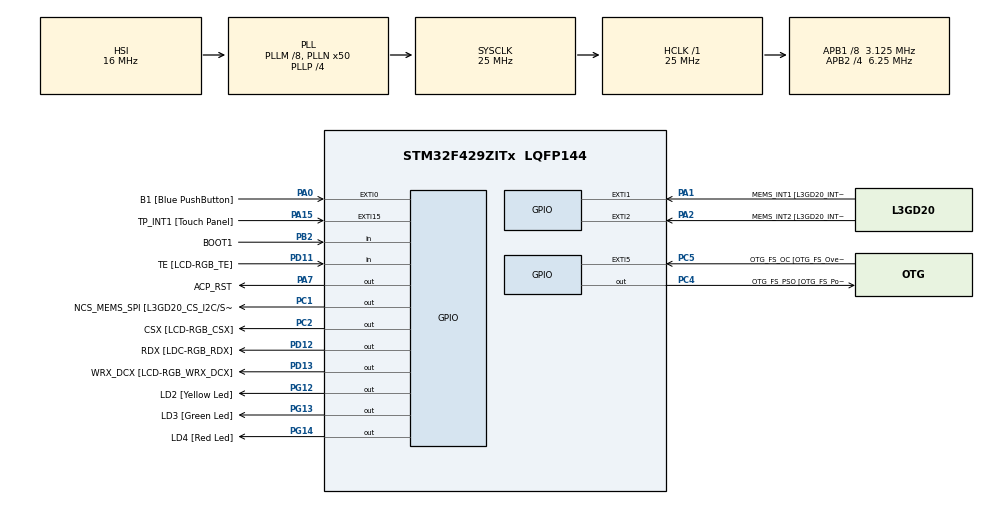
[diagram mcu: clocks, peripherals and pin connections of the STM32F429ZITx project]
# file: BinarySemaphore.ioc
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Mcu.Family=STM32F4
Mcu.Name=STM32F429ZITx
Mcu.Package=LQFP144
NVIC.PriorityGroup=NVIC_PRIORITYGROUP_0
NVIC.TIM6_DAC_IRQn=true\:0\:0\:false\:false\:true\:false\:true\:true
NVIC.TimeBase=TIM6_DAC_IRQn
NVIC.TimeBaseIP=TIM6
PA0/WKUP.GPIO_Label=B1 [Blue PushButton]
PA0/WKUP.GPIO_ModeDefaultEXTI=GPIO_MODE_EVT_RISING
PA0/WKUP.GPIO_PuPd=GPIO_NOPULL
PA0/WKUP.Signal=GPXTI0
PA1.GPIO_Label=MEMS_INT1 [L3GD20_INT1]
PA1.GPIO_ModeDefaultEXTI=GPIO_MODE_EVT_RISING
PA1.GPIO_PuPd=GPIO_NOPULL
PA1.Signal=GPXTI1
PA10.GPIO_Label=STLINK_TX [STM32F103CBT6_PA2]
PA10.Signal=USART1_RX
PA11.GPIO_Label=R4
PA11.GPIO_Mode=GPIO_MODE_AF_PP
PA11.GPIO_PuPd=GPIO_NOPULL
PA11.GPIO_Speed=GPIO_SPEED_FREQ_LOW
PA11.Signal=LTDC_R4
PA12.GPIO_Label=R5
PA12.GPIO_Mode=GPIO_MODE_AF_PP
PA12.GPIO_PuPd=GPIO_NOPULL
PA12.GPIO_Speed=GPIO_SPEED_FREQ_LOW
PA12.Signal=LTDC_R5
PA13.GPIO_Label=SWDIO
PA13.Signal=SYS_JTMS-SWDIO
PA14.GPIO_Label=SWCLK
PA14.Signal=SYS_JTCK-SWCLK
PA15.GPIO_Label=TP_INT1 [Touch Panel]
PA15.GPIO_ModeDefaultEXTI=GPIO_MODE_EVT_RISING
PA15.GPIO_PuPd=GPIO_NOPULL
PA15.Signal=GPXTI15
PA2.GPIO_Label=MEMS_INT2 [L3GD20_INT2]
PA2.GPIO_ModeDefaultEXTI=GPIO_MODE_EVT_RISING
PA2.GPIO_PuPd=GPIO_NOPULL
PA2.Signal=GPXTI2
PA3.GPIO_Label=B5
PA3.GPIO_Mode=GPIO_MODE_AF_PP
PA3.GPIO_PuPd=GPIO_NOPULL
PA3.GPIO_Speed=GPIO_SPEED_FREQ_LOW
PA3.Signal=LTDC_B5
PA4.GPIO_Label=VSYNC
PA4.GPIO_Mode=GPIO_MODE_AF_PP
PA4.GPIO_PuPd=GPIO_NOPULL
PA4.GPIO_Speed=GPIO_SPEED_FREQ_LOW
PA4.Signal=LTDC_VSYNC
PA6.GPIO_Label=G2
PA6.GPIO_Mode=GPIO_MODE_AF_PP
PA6.GPIO_PuPd=GPIO_NOPULL
PA6.GPIO_Speed=GPIO_SPEED_FREQ_LOW
PA6.Signal=LTDC_G2
PA7.GPIO_Label=ACP_RST
PA7.GPIO_Mode=GPIO_MODE_OUTPUT_PP
PA7.GPIO_PuPd=GPIO_NOPULL
PA7.GPIO_Speed=GPIO_SPEED_FREQ_LOW
PA7.Signal=GPIO_Output
PA8.GPIO_Label=I2C3_SCL [ACP/RF_SCL]
PA8.GPIO_Mode=GPIO_MODE_AF_OD
PA8.GPIO_PuPd=GPIO_NOPULL
PA8.GPIO_Speed=GPIO_SPEED_FREQ_LOW
PA8.Signal=I2C3_SCL
PA9.GPIO_Label=STLINK_RX [STM32F103CBT6_PA3]
PA9.Signal=USART1_TX
PB0.GPIO_Label=R3
PB0.GPIO_Mode=GPIO_MODE_AF_PP
PB0.GPIO_PuPd=GPIO_NOPULL
PB0.GPIO_Speed=GPIO_SPEED_FREQ_LOW
PB0.Signal=LTDC_R3
PB1.GPIO_Label=R6
PB1.GPIO_Mode=GPIO_MODE_AF_PP
PB1.GPIO_PuPd=GPIO_NOPULL
PB1.GPIO_Speed=GPIO_SPEED_FREQ_LOW
PB1.Signal=LTDC_R6
PB10.GPIO_Label=G4
PB10.GPIO_Mode=GPIO_MODE_AF_PP
PB10.GPIO_PuPd=GPIO_NOPULL
PB10.GPIO_Speed=GPIO_SPEED_FREQ_LOW
PB10.Signal=LTDC_G4
PB11.GPIO_Label=G5
PB11.GPIO_Mode=GPIO_MODE_AF_PP
PB11.GPIO_PuPd=GPIO_NOPULL
PB11.GPIO_Speed=GPIO_SPEED_FREQ_LOW
PB11.Signal=LTDC_G5
PB12.GPIO_Label=OTG_HS_ID
PB12.GPIO_Mode=GPIO_MODE_AF_PP
PB12.GPIO_PuPd=GPIO_NOPULL
PB12.GPIO_Speed=GPIO_SPEED_FREQ_LOW
PB12.Signal=USB_OTG_HS_ID
PB13.GPIO_Label=VBUS_HS
PB13.GPIO_Mode=GPIO_MODE_INPUT
PB13.GPIO_PuPd=GPIO_NOPULL
PB13.Signal=USB_OTG_HS_VBUS
PB14.GPIO_Label=OTG_HS_DM
PB14.GPIO_Mode=GPIO_MODE_AF_PP
PB14.GPIO_PuPd=GPIO_NOPULL
PB14.GPIO_Speed=GPIO_SPEED_FREQ_LOW
PB14.Signal=USB_OTG_HS_DM
PB15.GPIO_Label=OTG_HS_DP
PB15.GPIO_Mode=GPIO_MODE_AF_PP
PB15.GPIO_PuPd=GPIO_NOPULL
PB15.GPIO_Speed=GPIO_SPEED_FREQ_LOW
PB15.Signal=USB_OTG_HS_DP
PB2/BOOT1.GPIO_Label=BOOT1
PB2/BOOT1.GPIO_Mode=GPIO_MODE_INPUT
PB2/BOOT1.GPIO_PuPd=GPIO_NOPULL
PB2/BOOT1.Signal=GPIO_Input
PB5.GPIO_Label=SDCKE1
PB5.GPIO_Mode=GPIO_MODE_AF_PP
PB5.GPIO_PuPd=GPIO_NOPULL
PB5.GPIO_Speed=GPIO_SPEED_FREQ_VERY_HIGH
PB5.Signal=FMC_SDCKE1
PB6.GPIO_Label=SDNE1 [SDRAM_CS]
PB6.GPIO_Mode=GPIO_MODE_AF_PP
PB6.GPIO_PuPd=GPIO_NOPULL
PB6.GPIO_Speed=GPIO_SPEED_FREQ_VERY_HIGH
PB6.Signal=FMC_SDNE1
PB8.GPIO_Label=B6
PB8.GPIO_Mode=GPIO_MODE_AF_PP
PB8.GPIO_PuPd=GPIO_NOPULL
PB8.GPIO_Speed=GPIO_SPEED_FREQ_LOW
PB8.Signal=LTDC_B6
PB9.GPIO_Label=B7
PB9.GPIO_Mode=GPIO_MODE_AF_PP
PB9.GPIO_PuPd=GPIO_NOPULL
PB9.GPIO_Speed=GPIO_SPEED_FREQ_LOW
PB9.Signal=LTDC_B7
PC0.GPIO_Label=SDNWE
PC0.GPIO_Mode=GPIO_MODE_AF_PP
PC0.GPIO_PuPd=GPIO_NOPULL
PC0.GPIO_Speed=GPIO_SPEED_FREQ_VERY_HIGH
PC0.Signal=FMC_SDNWE
PC1.GPIO_Label=NCS_MEMS_SPI [L3GD20_CS_I2C/SPI]
PC1.GPIO_Mode=GPIO_MODE_OUTPUT_PP
PC1.GPIO_PuPd=GPIO_NOPULL
PC1.GPIO_Speed=GPIO_SPEED_FREQ_LOW
PC1.Signal=GPIO_Output
PC10.GPIO_Label=R2
PC10.GPIO_Mode=GPIO_MODE_AF_PP
PC10.GPIO_PuPd=GPIO_NOPULL
PC10.GPIO_Speed=GPIO_SPEED_FREQ_LOW
PC10.Signal=LTDC_R2
PC14/OSC32_IN.GPIO_Label=PC14-OSC32_IN
PC14/OSC32_IN.Signal=RCC_OSC32_IN
PC15/OSC32_OUT.GPIO_Label=PC15-OSC32_OUT
PC15/OSC32_OUT.Signal=RCC_OSC32_OUT
PC2.GPIO_Label=CSX [LCD-RGB_CSX]
PC2.GPIO_Mode=GPIO_MODE_OUTPUT_PP
PC2.GPIO_PuPd=GPIO_NOPULL
PC2.GPIO_Speed=GPIO_SPEED_FREQ_LOW
PC2.Signal=GPIO_Output
PC4.GPIO_Label=OTG_FS_PSO [OTG_FS_PowerSwitchOn]
PC4.GPIO_Mode=GPIO_MODE_OUTPUT_PP
PC4.GPIO_PuPd=GPIO_NOPULL
PC4.GPIO_Speed=GPIO_SPEED_FREQ_LOW
PC4.Signal=GPIO_Output
PC5.GPIO_Label=OTG_FS_OC [OTG_FS_OverCurrent]
PC5.GPIO_ModeDefaultEXTI=GPIO_MODE_EVT_RISING
PC5.Signal=GPXTI5
PC6.GPIO_Label=HSYNC
PC6.GPIO_Mode=GPIO_MODE_AF_PP
PC6.GPIO_PuPd=GPIO_NOPULL
PC6.GPIO_Speed=GPIO_SPEED_FREQ_LOW
PC6.Signal=LTDC_HSYNC
PC7.GPIO_Label=G6
PC7.GPIO_Mode=GPIO_MODE_AF_PP
PC7.GPIO_PuPd=GPIO_NOPULL
PC7.GPIO_Speed=GPIO_SPEED_FREQ_LOW
PC7.Signal=LTDC_G6
PC9.GPIO_Label=I2C3_SDA [ACP/RF_SDA]
PC9.GPIO_Mode=GPIO_MODE_AF_OD
PC9.GPIO_PuPd=GPIO_NOPULL
PC9.GPIO_Speed=GPIO_SPEED_FREQ_LOW
PC9.Signal=I2C3_SDA
PD0.GPIO_Label=D2
PD0.GPIO_Mode=GPIO_MODE_AF_PP
PD0.GPIO_PuPd=GPIO_NOPULL
PD0.GPIO_Speed=GPIO_SPEED_FREQ_VERY_HIGH
PD0.Signal=FMC_D2_DA2
PD1.GPIO_Label=D3
PD1.GPIO_Mode=GPIO_MODE_AF_PP
PD1.GPIO_PuPd=GPIO_NOPULL
PD1.GPIO_Speed=GPIO_SPEED_FREQ_VERY_HIGH
PD1.Signal=FMC_D3_DA3
PD10.GPIO_Label=D15
PD10.GPIO_Mode=GPIO_MODE_AF_PP
PD10.GPIO_PuPd=GPIO_NOPULL
PD10.GPIO_Speed=GPIO_SPEED_FREQ_VERY_HIGH
PD10.Signal=FMC_D15_DA15
PD11.GPIO_Label=TE [LCD-RGB_TE]
PD11.GPIO_Mode=GPIO_MODE_INPUT
PD11.GPIO_PuPd=GPIO_NOPULL
PD11.Signal=GPIO_Input
PD12.GPIO_Label=RDX [LDC-RGB_RDX]
PD12.GPIO_Mode=GPIO_MODE_OUTPUT_PP
PD12.GPIO_PuPd=GPIO_NOPULL
PD12.GPIO_Speed=GPIO_SPEED_FREQ_LOW
PD12.Signal=GPIO_Output
PD13.GPIO_Label=WRX_DCX [LCD-RGB_WRX_DCX]
PD13.GPIO_Mode=GPIO_MODE_OUTPUT_PP
PD13.GPIO_PuPd=GPIO_NOPULL
PD13.GPIO_Speed=GPIO_SPEED_FREQ_LOW
PD13.Signal=GPIO_Output
PD14.GPIO_Label=D0
PD14.GPIO_Mode=GPIO_MODE_AF_PP
PD14.GPIO_PuPd=GPIO_NOPULL
PD14.GPIO_Speed=GPIO_SPEED_FREQ_VERY_HIGH
PD14.Signal=FMC_D0_DA0
PD15.GPIO_Label=D1
PD15.GPIO_Mode=GPIO_MODE_AF_PP
PD15.GPIO_PuPd=GPIO_NOPULL
PD15.GPIO_Speed=GPIO_SPEED_FREQ_VERY_HIGH
PD15.Signal=FMC_D1_DA1
PD3.GPIO_Label=G7
PD3.GPIO_Mode=GPIO_MODE_AF_PP
PD3.GPIO_PuPd=GPIO_NOPULL
PD3.GPIO_Speed=GPIO_SPEED_FREQ_LOW
PD3.Signal=LTDC_G7
PD6.GPIO_Label=B2
PD6.GPIO_Mode=GPIO_MODE_AF_PP
PD6.GPIO_PuPd=GPIO_NOPULL
PD6.GPIO_Speed=GPIO_SPEED_FREQ_LOW
PD6.Signal=LTDC_B2
PD8.GPIO_Label=D13
PD8.GPIO_Mode=GPIO_MODE_AF_PP
PD8.GPIO_PuPd=GPIO_NOPULL
PD8.GPIO_Speed=GPIO_SPEED_FREQ_VERY_HIGH
PD8.Signal=FMC_D13_DA13
PD9.GPIO_Label=D14
PD9.GPIO_Mode=GPIO_MODE_AF_PP
PD9.GPIO_PuPd=GPIO_NOPULL
PD9.GPIO_Speed=GPIO_SPEED_FREQ_VERY_HIGH
PD9.Signal=FMC_D14_DA14
PE0.GPIO_Label=NBL0 [SDRAM_LDQM]
PE0.GPIO_Mode=GPIO_MODE_AF_PP
PE0.GPIO_PuPd=GPIO_NOPULL
PE0.GPIO_Speed=GPIO_SPEED_FREQ_VERY_HIGH
PE0.Signal=FMC_NBL0
PE1.GPIO_Label=NBL1 [SDRAM_UDQM]
PE1.GPIO_Mode=GPIO_MODE_AF_PP
PE1.GPIO_PuPd=GPIO_NOPULL
PE1.GPIO_Speed=GPIO_SPEED_FREQ_VERY_HIGH
PE1.Signal=FMC_NBL1
PE10.GPIO_Label=D7
PE10.GPIO_Mode=GPIO_MODE_AF_PP
PE10.GPIO_PuPd=GPIO_NOPULL
PE10.GPIO_Speed=GPIO_SPEED_FREQ_VERY_HIGH
PE10.Signal=FMC_D7_DA7
PE11.GPIO_Label=D8
PE11.GPIO_Mode=GPIO_MODE_AF_PP
PE11.GPIO_PuPd=GPIO_NOPULL
PE11.GPIO_Speed=GPIO_SPEED_FREQ_VERY_HIGH
PE11.Signal=FMC_D8_DA8
PE12.GPIO_Label=D9
PE12.GPIO_Mode=GPIO_MODE_AF_PP
PE12.GPIO_PuPd=GPIO_NOPULL
PE12.GPIO_Speed=GPIO_SPEED_FREQ_VERY_HIGH
PE12.Signal=FMC_D9_DA9
PE13.GPIO_Label=D10
PE13.GPIO_Mode=GPIO_MODE_AF_PP
PE13.GPIO_PuPd=GPIO_NOPULL
PE13.GPIO_Speed=GPIO_SPEED_FREQ_VERY_HIGH
PE13.Signal=FMC_D10_DA10
PE14.GPIO_Label=D11
PE14.GPIO_Mode=GPIO_MODE_AF_PP
PE14.GPIO_PuPd=GPIO_NOPULL
PE14.GPIO_Speed=GPIO_SPEED_FREQ_VERY_HIGH
PE14.Signal=FMC_D11_DA11
PE15.GPIO_Label=D12
PE15.GPIO_Mode=GPIO_MODE_AF_PP
PE15.GPIO_PuPd=GPIO_NOPULL
PE15.GPIO_Speed=GPIO_SPEED_FREQ_VERY_HIGH
PE15.Signal=FMC_D12_DA12
PE7.GPIO_Label=D4
PE7.GPIO_Mode=GPIO_MODE_AF_PP
PE7.GPIO_PuPd=GPIO_NOPULL
PE7.GPIO_Speed=GPIO_SPEED_FREQ_VERY_HIGH
PE7.Signal=FMC_D4_DA4
PE8.GPIO_Label=D5
PE8.GPIO_Mode=GPIO_MODE_AF_PP
PE8.GPIO_PuPd=GPIO_NOPULL
PE8.GPIO_Speed=GPIO_SPEED_FREQ_VERY_HIGH
PE8.Signal=FMC_D5_DA5
PE9.GPIO_Label=D6
PE9.GPIO_Mode=GPIO_MODE_AF_PP
PE9.GPIO_PuPd=GPIO_NOPULL
PE9.GPIO_Speed=GPIO_SPEED_FREQ_VERY_HIGH
PE9.Signal=FMC_D6_DA6
PF0.GPIO_Label=A0
PF0.GPIO_Mode=GPIO_MODE_AF_PP
PF0.GPIO_PuPd=GPIO_NOPULL
PF0.GPIO_Speed=GPIO_SPEED_FREQ_VERY_HIGH
PF0.Signal=FMC_A0
PF1.GPIO_Label=A1
PF1.GPIO_Mode=GPIO_MODE_AF_PP
PF1.GPIO_PuPd=GPIO_NOPULL
PF1.GPIO_Speed=GPIO_SPEED_FREQ_VERY_HIGH
PF1.Signal=FMC_A1
PF10.GPIO_Label=ENABLE [LCD-RGB_ENABLE]
PF10.GPIO_Mode=GPIO_MODE_AF_PP
PF10.GPIO_PuPd=GPIO_NOPULL
PF10.GPIO_Speed=GPIO_SPEED_FREQ_LOW
PF10.Signal=LTDC_DE
PF11.GPIO_Label=SDNRAS
PF11.GPIO_Mode=GPIO_MODE_AF_PP
PF11.GPIO_PuPd=GPIO_NOPULL
PF11.GPIO_Speed=GPIO_SPEED_FREQ_VERY_HIGH
PF11.Signal=FMC_SDNRAS
PF12.GPIO_Label=A6
PF12.GPIO_Mode=GPIO_MODE_AF_PP
PF12.GPIO_PuPd=GPIO_NOPULL
PF12.GPIO_Speed=GPIO_SPEED_FREQ_VERY_HIGH
PF12.Signal=FMC_A6
PF13.GPIO_Label=A7
PF13.GPIO_Mode=GPIO_MODE_AF_PP
PF13.GPIO_PuPd=GPIO_NOPULL
PF13.GPIO_Speed=GPIO_SPEED_FREQ_VERY_HIGH
PF13.Signal=FMC_A7
PF14.GPIO_Label=A8
PF14.GPIO_Mode=GPIO_MODE_AF_PP
PF14.GPIO_PuPd=GPIO_NOPULL
PF14.GPIO_Speed=GPIO_SPEED_FREQ_VERY_HIGH
PF14.Signal=FMC_A8
PF15.GPIO_Label=A9
PF15.GPIO_Mode=GPIO_MODE_AF_PP
PF15.GPIO_PuPd=GPIO_NOPULL
PF15.GPIO_Speed=GPIO_SPEED_FREQ_VERY_HIGH
PF15.Signal=FMC_A9
PF2.GPIO_Label=A2
PF2.GPIO_Mode=GPIO_MODE_AF_PP
PF2.GPIO_PuPd=GPIO_NOPULL
PF2.GPIO_Speed=GPIO_SPEED_FREQ_VERY_HIGH
PF2.Signal=FMC_A2
PF3.GPIO_Label=A3
PF3.GPIO_Mode=GPIO_MODE_AF_PP
PF3.GPIO_PuPd=GPIO_NOPULL
PF3.GPIO_Speed=GPIO_SPEED_FREQ_VERY_HIGH
PF3.Signal=FMC_A3
PF4.GPIO_Label=A4
PF4.GPIO_Mode=GPIO_MODE_AF_PP
PF4.GPIO_PuPd=GPIO_NOPULL
PF4.GPIO_Speed=GPIO_SPEED_FREQ_VERY_HIGH
PF4.Signal=FMC_A4
PF5.GPIO_Label=A5
PF5.GPIO_Mode=GPIO_MODE_AF_PP
PF5.GPIO_PuPd=GPIO_NOPULL
PF5.GPIO_Speed=GPIO_SPEED_FREQ_VERY_HIGH
PF5.Signal=FMC_A5
PF7.GPIO_Label=SPI5_SCK [L3GD20_SCL/SPC]
PF7.GPIO_Mode=GPIO_MODE_AF_PP
PF7.GPIO_PuPd=GPIO_NOPULL
PF7.GPIO_Speed=GPIO_SPEED_FREQ_LOW
PF7.Signal=SPI5_SCK
PF8.GPIO_Label=SPI5_MISO [L3GD20_SDO]
PF8.GPIO_Mode=GPIO_MODE_AF_PP
PF8.GPIO_PuPd=GPIO_NOPULL
PF8.GPIO_Speed=GPIO_SPEED_FREQ_LOW
PF8.Signal=SPI5_MISO
PF9.GPIO_Label=SPI5_MOSI [L3GD20_SDA/SDI/SDO]
PF9.GPIO_Mode=GPIO_MODE_AF_PP
PF9.GPIO_PuPd=GPIO_NOPULL
PF9.GPIO_Speed=GPIO_SPEED_FREQ_LOW
PF9.Signal=SPI5_MOSI
PG0.GPIO_Label=A10
PG0.GPIO_Mode=GPIO_MODE_AF_PP
PG0.GPIO_PuPd=GPIO_NOPULL
PG0.GPIO_Speed=GPIO_SPEED_FREQ_VERY_HIGH
PG0.Signal=FMC_A10
PG1.GPIO_Label=A11
PG1.GPIO_Mode=GPIO_MODE_AF_PP
PG1.GPIO_PuPd=GPIO_NOPULL
PG1.GPIO_Speed=GPIO_SPEED_FREQ_VERY_HIGH
PG1.Signal=FMC_A11
PG10.GPIO_Label=G3
PG10.GPIO_Mode=GPIO_MODE_AF_PP
PG10.GPIO_PuPd=GPIO_NOPULL
PG10.GPIO_Speed=GPIO_SPEED_FREQ_LOW
PG10.Signal=LTDC_G3
PG11.GPIO_Label=B3
PG11.GPIO_Mode=GPIO_MODE_AF_PP
PG11.GPIO_PuPd=GPIO_NOPULL
PG11.GPIO_Speed=GPIO_SPEED_FREQ_LOW
PG11.Signal=LTDC_B3
PG12.GPIO_Label=LD2 [Yellow Led]
PG12.Signal=GPIO_Output
PG13.GPIO_Label=LD3 [Green Led]
PG13.GPIO_Mode=GPIO_MODE_OUTPUT_PP
PG13.GPIO_PuPd=GPIO_NOPULL
PG13.GPIO_Speed=GPIO_SPEED_FREQ_LOW
PG13.Signal=GPIO_Output
PG14.GPIO_Label=LD4 [Red Led]
PG14.GPIO_Mode=GPIO_MODE_OUTPUT_PP
PG14.GPIO_PuPd=GPIO_NOPULL
PG14.GPIO_Speed=GPIO_SPEED_FREQ_LOW
PG14.Signal=GPIO_Output
PG15.GPIO_Label=SDNCAS
PG15.GPIO_Mode=GPIO_MODE_AF_PP
PG15.GPIO_PuPd=GPIO_NOPULL
PG15.GPIO_Speed=GPIO_SPEED_FREQ_VERY_HIGH
PG15.Signal=FMC_SDNCAS
PG4.GPIO_Label=BA0
PG4.GPIO_Mode=GPIO_MODE_AF_PP
PG4.GPIO_PuPd=GPIO_NOPULL
PG4.GPIO_Speed=GPIO_SPEED_FREQ_VERY_HIGH
PG4.Signal=FMC_A14_BA0
PG5.GPIO_Label=BA1
PG5.GPIO_Mode=GPIO_MODE_AF_PP
PG5.GPIO_PuPd=GPIO_NOPULL
PG5.GPIO_Speed=GPIO_SPEED_FREQ_VERY_HIGH
PG5.Signal=FMC_A15_BA1
PG6.GPIO_Label=R7
PG6.GPIO_Mode=GPIO_MODE_AF_PP
PG6.GPIO_PuPd=GPIO_NOPULL
PG6.GPIO_Speed=GPIO_SPEED_FREQ_LOW
PG6.Signal=LTDC_R7
PG7.GPIO_Label=DOTCLK [LCT-RGB_DOTCLK]
PG7.GPIO_Mode=GPIO_MODE_AF_PP
PG7.GPIO_PuPd=GPIO_NOPULL
PG7.GPIO_Speed=GPIO_SPEED_FREQ_LOW
PG7.Signal=LTDC_CLK
PG8.GPIO_Label=SDCLK
PG8.GPIO_Mode=GPIO_MODE_AF_PP
PG8.GPIO_PuPd=GPIO_NOPULL
PG8.GPIO_Speed=GPIO_SPEED_FREQ_VERY_HIGH
PG8.Signal=FMC_SDCLK
PH0/OSC_IN.GPIO_Label=PH0-OSC_IN
PH0/OSC_IN.Signal=RCC_OSC_IN
PH1/OSC_OUT.GPIO_Label=PH1-OSC_OUT
PH1/OSC_OUT.Signal=RCC_OSC_OUT
ProjectManager.HeapSize=0x200
ProjectManager.StackSize=0x400
ProjectManager.TargetToolchain=STM32CubeIDE
RCC.48MHZClocksFreq_Value=14285714.285714285
RCC.AHBFreq_Value=25000000
RCC.APB1CLKDivider=RCC_HCLK_DIV8
RCC.APB1Freq_Value=3125000
RCC.APB1TimFreq_Value=6250000
RCC.APB2CLKDivider=RCC_HCLK_DIV4
RCC.APB2Freq_Value=6250000
RCC.APB2TimFreq_Value=12500000
RCC.CortexFreq_Value=25000000
RCC.HCLKFreq_Value=25000000
RCC.HSE_VALUE=8000000
RCC.HSI_VALUE=16000000
RCC.LSE_VALUE=32768
RCC.PLLM=8
RCC.PLLN=50
RCC.PLLP=RCC_PLLP_DIV4
RCC.PLLQ=7
RCC.SYSCLKFreq_VALUE=25000000
RCC.SYSCLKSource=RCC_SYSCLKSOURCE_PLLCLK
RCC.VCOOutputFreq_Value=100000000
SH.FMC_A0.0=FMC_A0
SH.FMC_A1.0=FMC_A1
SH.FMC_A10.0=FMC_A10
SH.FMC_A11.0=FMC_A11
SH.FMC_A14_BA0.0=FMC_BA0
SH.FMC_A15_BA1.0=FMC_BA1
SH.FMC_A2.0=FMC_A2
SH.FMC_A3.0=FMC_A3
SH.FMC_A4.0=FMC_A4
SH.FMC_A5.0=FMC_A5
SH.FMC_A6.0=FMC_A6
SH.FMC_A7.0=FMC_A7
SH.FMC_A8.0=FMC_A8
SH.FMC_A9.0=FMC_A9
SH.FMC_D0_DA0.0=FMC_D0
SH.FMC_D10_DA10.0=FMC_D10
SH.FMC_D11_DA11.0=FMC_D11
SH.FMC_D12_DA12.0=FMC_D12
SH.FMC_D13_DA13.0=FMC_D13
SH.FMC_D14_DA14.0=FMC_D14
SH.FMC_D15_DA15.0=FMC_D15
SH.FMC_D1_DA1.0=FMC_D1
SH.FMC_D2_DA2.0=FMC_D2
SH.FMC_D3_DA3.0=FMC_D3
SH.FMC_D4_DA4.0=FMC_D4
SH.FMC_D5_DA5.0=FMC_D5
SH.FMC_D6_DA6.0=FMC_D6
SH.FMC_D7_DA7.0=FMC_D7
SH.FMC_D8_DA8.0=FMC_D8
SH.FMC_D9_DA9.0=FMC_D9
SH.FMC_NBL0.0=FMC_NBL0
SH.FMC_NBL1.0=FMC_NBL1
SH.FMC_SDCLK.0=FMC_SDCLK
SH.FMC_SDNCAS.0=FMC_SDNCAS
SH.FMC_SDNRAS.0=FMC_SDNRAS
SH.FMC_SDNWE.0=FMC_SDNWE
VP_SYS_VS_tim6.Mode=TIM6
board=STM32F429I-DISC1

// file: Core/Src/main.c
/* USER CODE BEGIN Header */
/**
  ******************************************************************************
  * @file           : main.c
  * @brief          : Main program body
  ******************************************************************************
  * @attention
  *
  * Copyright (c) 2023 STMicroelectronics.
  * All rights reserved.
  *
  * This software is licensed under terms that can be found in the LICENSE file
  * in the root directory of this software component.
  * If no LICENSE file comes with this software, it is provided AS-IS.
  *
  ******************************************************************************
  */
/* USER CODE END Header */
#include "main.h"

void SystemClock_Config(void);
static void MX_GPIO_Init(void);
/* USER CODE BEGIN PFP */

volatile uint32_t flag = 0;

/* USER CODE END PFP */

/* USER CODE BEGIN 0 */

// some common variables to use for each task
// 128 * 4 = 512 bytes
//(recommended min stack size per task)
#define STACK_SIZE 128

//create storage for a pointer to a semaphore
SemaphoreHandle_t semPtr = NULL;

void GreenTaskA( void * argument);
void BlueTaskB( void* argumet );

/* USER CODE END 0 */

int main(void)
{

  /* MCU Configuration--------------------------------------------------------*/

  /* Reset of all peripherals, Initializes the Flash interface and the Systick. */
  HAL_Init();

  /* Configure the system clock */
  SystemClock_Config();

  /* Initialize all configured peripherals */
  MX_GPIO_Init();
  /* USER CODE BEGIN 2 */

  SEGGER_SYSVIEW_Conf();
  HAL_NVIC_SetPriorityGrouping(NVIC_PRIORITYGROUP_4);	//ensure proper priority grouping for freeRTOS

  //create a semaphore using the FreeRTOS Heap
  semPtr = xSemaphoreCreateBinary();
  configASSERT(semPtr != NULL);

  //create TaskA as a higher priority than TaskB.  In this example, this isn't strictly necessary since the tasks
  //spend nearly all of their time blocked
  configASSERT(xTaskCreate(GreenTaskA, "GreenTaskA", STACK_SIZE, NULL, tskIDLE_PRIORITY + 2, NULL) == pdPASS);

  //using an assert to ensure proper task creation
  configASSERT(xTaskCreate(BlueTaskB, "BlueTaskB", STACK_SIZE, NULL, tskIDLE_PRIORITY + 1, NULL) == pdPASS);

  //start the scheduler - shouldn't return unless there's a problem
  vTaskStartScheduler();

  /* USER CODE END 2 */

  /* Infinite loop */
  while (1)
  {

  }
}

void SystemClock_Config(void)
{
  RCC_OscInitTypeDef RCC_OscInitStruct = {0};
  RCC_ClkInitTypeDef RCC_ClkInitStruct = {0};

  /** Configure the main internal regulator output voltage
  */
  __HAL_RCC_PWR_CLK_ENABLE();
  __HAL_PWR_VOLTAGESCALING_CONFIG(PWR_REGULATOR_VOLTAGE_SCALE3);

  /** Initializes the RCC Oscillators according to the specified parameters
  * in the RCC_OscInitTypeDef structure.
  */
  RCC_OscInitStruct.OscillatorType = RCC_OSCILLATORTYPE_HSI;
  RCC_OscInitStruct.HSIState = RCC_HSI_ON;
  RCC_OscInitStruct.HSICalibrationValue = RCC_HSICALIBRATION_DEFAULT;
  RCC_OscInitStruct.PLL.PLLState = RCC_PLL_ON;
  RCC_OscInitStruct.PLL.PLLSource = RCC_PLLSOURCE_HSI;
  RCC_OscInitStruct.PLL.PLLM = 8;
  RCC_OscInitStruct.PLL.PLLN = 50;
  RCC_OscInitStruct.PLL.PLLP = RCC_PLLP_DIV4;
  RCC_OscInitStruct.PLL.PLLQ = 7;
  if (HAL_RCC_OscConfig(&RCC_OscInitStruct) != HAL_OK)
  {
    Error_Handler();
  }

  /** Initializes the CPU, AHB and APB buses clocks
  */
  RCC_ClkInitStruct.ClockType = RCC_CLOCKTYPE_HCLK|RCC_CLOCKTYPE_SYSCLK
                              |RCC_CLOCKTYPE_PCLK1|RCC_CLOCKTYPE_PCLK2;
  RCC_ClkInitStruct.SYSCLKSource = RCC_SYSCLKSOURCE_PLLCLK;
  RCC_ClkInitStruct.AHBCLKDivider = RCC_SYSCLK_DIV1;
  RCC_ClkInitStruct.APB1CLKDivider = RCC_HCLK_DIV8;
  RCC_ClkInitStruct.APB2CLKDivider = RCC_HCLK_DIV4;

  if (HAL_RCC_ClockConfig(&RCC_ClkInitStruct, FLASH_LATENCY_0) != HAL_OK)
  {
    Error_Handler();
  }
}

static void MX_GPIO_Init(void)
{
  GPIO_InitTypeDef GPIO_InitStruct = {0};

  /* GPIO Ports Clock Enable */
  __HAL_RCC_GPIOC_CLK_ENABLE();
  __HAL_RCC_GPIOF_CLK_ENABLE();
  __HAL_RCC_GPIOH_CLK_ENABLE();
  __HAL_RCC_GPIOA_CLK_ENABLE();
  __HAL_RCC_GPIOB_CLK_ENABLE();
  __HAL_RCC_GPIOG_CLK_ENABLE();
  __HAL_RCC_GPIOE_CLK_ENABLE();
  __HAL_RCC_GPIOD_CLK_ENABLE();

  /*Configure GPIO pin Output Level */
  HAL_GPIO_WritePin(GPIOC, NCS_MEMS_SPI_Pin|CSX_Pin|OTG_FS_PSO_Pin, GPIO_PIN_RESET);

  /*Configure GPIO pin Output Level */
  HAL_GPIO_WritePin(ACP_RST_GPIO_Port, ACP_RST_Pin, GPIO_PIN_RESET);

  /*Configure GPIO pin Output Level */
  HAL_GPIO_WritePin(GPIOD, RDX_Pin|WRX_DCX_Pin, GPIO_PIN_RESET);

  /*Configure GPIO pin Output Level */
  HAL_GPIO_WritePin(GPIOG, LD2_Pin|LD3_Pin|LD4_Pin, GPIO_PIN_RESET);

  /*Configure GPIO pins : A0_Pin A1_Pin A2_Pin A3_Pin
                           A4_Pin A5_Pin SDNRAS_Pin A6_Pin
                           A7_Pin A8_Pin A9_Pin */
  GPIO_InitStruct.Pin = A0_Pin|A1_Pin|A2_Pin|A3_Pin
                          |A4_Pin|A5_Pin|SDNRAS_Pin|A6_Pin
                          |A7_Pin|A8_Pin|A9_Pin;
  GPIO_InitStruct.Mode = GPIO_MODE_AF_PP;
  GPIO_InitStruct.Pull = GPIO_NOPULL;
  GPIO_InitStruct.Speed = GPIO_SPEED_FREQ_VERY_HIGH;
  GPIO_InitStruct.Alternate = GPIO_AF12_FMC;
  HAL_GPIO_Init(GPIOF, &GPIO_InitStruct);

  /*Configure GPIO pins : SPI5_SCK_Pin SPI5_MISO_Pin SPI5_MOSI_Pin */
  GPIO_InitStruct.Pin = SPI5_SCK_Pin|SPI5_MISO_Pin|SPI5_MOSI_Pin;
  GPIO_InitStruct.Mode = GPIO_MODE_AF_PP;
  GPIO_InitStruct.Pull = GPIO_NOPULL;
  GPIO_InitStruct.Speed = GPIO_SPEED_FREQ_LOW;
  GPIO_InitStruct.Alternate = GPIO_AF5_SPI5;
  HAL_GPIO_Init(GPIOF, &GPIO_InitStruct);

  /*Configure GPIO pin : ENABLE_Pin */
  GPIO_InitStruct.Pin = ENABLE_Pin;
  GPIO_InitStruct.Mode = GPIO_MODE_AF_PP;
  GPIO_InitStruct.Pull = GPIO_NOPULL;
  GPIO_InitStruct.Speed = GPIO_SPEED_FREQ_LOW;
  GPIO_InitStruct.Alternate = GPIO_AF14_LTDC;
  HAL_GPIO_Init(ENABLE_GPIO_Port, &GPIO_InitStruct);

  /*Configure GPIO pin : SDNWE_Pin */
  GPIO_InitStruct.Pin = SDNWE_Pin;
  GPIO_InitStruct.Mode = GPIO_MODE_AF_PP;
  GPIO_InitStruct.Pull = GPIO_NOPULL;
  GPIO_InitStruct.Speed = GPIO_SPEED_FREQ_VERY_HIGH;
  GPIO_InitStruct.Alternate = GPIO_AF12_FMC;
  HAL_GPIO_Init(SDNWE_GPIO_Port, &GPIO_InitStruct);

  /*Configure GPIO pins : NCS_MEMS_SPI_Pin CSX_Pin OTG_FS_PSO_Pin */
  GPIO_InitStruct.Pin = NCS_MEMS_SPI_Pin|CSX_Pin|OTG_FS_PSO_Pin;
  GPIO_InitStruct.Mode = GPIO_MODE_OUTPUT_PP;
  GPIO_InitStruct.Pull = GPIO_NOPULL;
  GPIO_InitStruct.Speed = GPIO_SPEED_FREQ_LOW;
  HAL_GPIO_Init(GPIOC, &GPIO_InitStruct);

  /*Configure GPIO pins : B1_Pin MEMS_INT1_Pin MEMS_INT2_Pin TP_INT1_Pin */
  GPIO_InitStruct.Pin = B1_Pin|MEMS_INT1_Pin|MEMS_INT2_Pin|TP_INT1_Pin;
  GPIO_InitStruct.Mode = GPIO_MODE_EVT_RISING;
  GPIO_InitStruct.Pull = GPIO_NOPULL;
  HAL_GPIO_Init(GPIOA, &GPIO_InitStruct);

  /*Configure GPIO pins : B5_Pin VSYNC_Pin G2_Pin R4_Pin
                           R5_Pin */
  GPIO_InitStruct.Pin = B5_Pin|VSYNC_Pin|G2_Pin|R4_Pin
                          |R5_Pin;
  GPIO_InitStruct.Mode = GPIO_MODE_AF_PP;
  GPIO_InitStruct.Pull = GPIO_NOPULL;
  GPIO_InitStruct.Speed = GPIO_SPEED_FREQ_LOW;
  GPIO_InitStruct.Alternate = GPIO_AF14_LTDC;
  HAL_GPIO_Init(GPIOA, &GPIO_InitStruct);

  /*Configure GPIO pin : ACP_RST_Pin */
  GPIO_InitStruct.Pin = ACP_RST_Pin;
  GPIO_InitStruct.Mode = GPIO_MODE_OUTPUT_PP;
  GPIO_InitStruct.Pull = GPIO_NOPULL;
  GPIO_InitStruct.Speed = GPIO_SPEED_FREQ_LOW;
  HAL_GPIO_Init(ACP_RST_GPIO_Port, &GPIO_InitStruct);

  /*Configure GPIO pin : OTG_FS_OC_Pin */
  GPIO_InitStruct.Pin = OTG_FS_OC_Pin;
  GPIO_InitStruct.Mode = GPIO_MODE_EVT_RISING;
  GPIO_InitStruct.Pull = GPIO_NOPULL;
  HAL_GPIO_Init(OTG_FS_OC_GPIO_Port, &GPIO_InitStruct);

  /*Configure GPIO pins : R3_Pin R6_Pin */
  GPIO_InitStruct.Pin = R3_Pin|R6_Pin;
  GPIO_InitStruct.Mode = GPIO_MODE_AF_PP;
  GPIO_InitStruct.Pull = GPIO_NOPULL;
  GPIO_InitStruct.Speed = GPIO_SPEED_FREQ_LOW;
  GPIO_InitStruct.Alternate = GPIO_AF9_LTDC;
  HAL_GPIO_Init(GPIOB, &GPIO_InitStruct);

  /*Configure GPIO pin : BOOT1_Pin */
  GPIO_InitStruct.Pin = BOOT1_Pin;
  GPIO_InitStruct.Mode = GPIO_MODE_INPUT;
  GPIO_InitStruct.Pull = GPIO_NOPULL;
  HAL_GPIO_Init(BOOT1_GPIO_Port, &GPIO_InitStruct);

  /*Configure GPIO pins : A10_Pin A11_Pin BA0_Pin BA1_Pin
                           SDCLK_Pin SDNCAS_Pin */
  GPIO_InitStruct.Pin = A10_Pin|A11_Pin|BA0_Pin|BA1_Pin
                          |SDCLK_Pin|SDNCAS_Pin;
  GPIO_InitStruct.Mode = GPIO_MODE_AF_PP;
  GPIO_InitStruct.Pull = GPIO_NOPULL;
  GPIO_InitStruct.Speed = GPIO_SPEED_FREQ_VERY_HIGH;
  GPIO_InitStruct.Alternate = GPIO_AF12_FMC;
  HAL_GPIO_Init(GPIOG, &GPIO_InitStruct);

  /*Configure GPIO pins : D4_Pin D5_Pin D6_Pin D7_Pin
                           D8_Pin D9_Pin D10_Pin D11_Pin
                           D12_Pin NBL0_Pin NBL1_Pin */
  GPIO_InitStruct.Pin = D4_Pin|D5_Pin|D6_Pin|D7_Pin
                          |D8_Pin|D9_Pin|D10_Pin|D11_Pin
                          |D12_Pin|NBL0_Pin|NBL1_Pin;
  GPIO_InitStruct.Mode = GPIO_MODE_AF_PP;
  GPIO_InitStruct.Pull = GPIO_NOPULL;
  GPIO_InitStruct.Speed = GPIO_SPEED_FREQ_VERY_HIGH;
  GPIO_InitStruct.Alternate = GPIO_AF12_FMC;
  HAL_GPIO_Init(GPIOE, &GPIO_InitStruct);

  /*Configure GPIO pins : G4_Pin G5_Pin B6_Pin B7_Pin */
  GPIO_InitStruct.Pin = G4_Pin|G5_Pin|B6_Pin|B7_Pin;
  GPIO_InitStruct.Mode = GPIO_MODE_AF_PP;
  GPIO_InitStruct.Pull = GPIO_NOPULL;
  GPIO_InitStruct.Speed = GPIO_SPEED_FREQ_LOW;
  GPIO_InitStruct.Alternate = GPIO_AF14_LTDC;
  HAL_GPIO_Init(GPIOB, &GPIO_InitStruct);

  /*Configure GPIO pins : OTG_HS_ID_Pin OTG_HS_DM_Pin OTG_HS_DP_Pin */
  GPIO_InitStruct.Pin = OTG_HS_ID_Pin|OTG_HS_DM_Pin|OTG_HS_DP_Pin;
  GPIO_InitStruct.Mode = GPIO_MODE_AF_PP;
  GPIO_InitStruct.Pull = GPIO_NOPULL;
  GPIO_InitStruct.Speed = GPIO_SPEED_FREQ_LOW;
  GPIO_InitStruct.Alternate = GPIO_AF12_OTG_HS_FS;
  HAL_GPIO_Init(GPIOB, &GPIO_InitStruct);

  /*Configure GPIO pin : VBUS_HS_Pin */
  GPIO_InitStruct.Pin = VBUS_HS_Pin;
  GPIO_InitStruct.Mode = GPIO_MODE_INPUT;
  GPIO_InitStruct.Pull = GPIO_NOPULL;
  HAL_GPIO_Init(VBUS_HS_GPIO_Port, &GPIO_InitStruct);

  /*Configure GPIO pins : D13_Pin D14_Pin D15_Pin D0_Pin
                           D1_Pin D2_Pin D3_Pin */
  GPIO_InitStruct.Pin = D13_Pin|D14_Pin|D15_Pin|D0_Pin
                          |D1_Pin|D2_Pin|D3_Pin;
  GPIO_InitStruct.Mode = GPIO_MODE_AF_PP;
  GPIO_InitStruct.Pull = GPIO_NOPULL;
  GPIO_InitStruct.Speed = GPIO_SPEED_FREQ_VERY_HIGH;
  GPIO_InitStruct.Alternate = GPIO_AF12_FMC;
  HAL_GPIO_Init(GPIOD, &GPIO_InitStruct);

  /*Configure GPIO pin : TE_Pin */
  GPIO_InitStruct.Pin = TE_Pin;
  GPIO_InitStruct.Mode = GPIO_MODE_INPUT;
  GPIO_InitStruct.Pull = GPIO_NOPULL;
  HAL_GPIO_Init(TE_GPIO_Port, &GPIO_InitStruct);

  /*Configure GPIO pins : RDX_Pin WRX_DCX_Pin */
  GPIO_InitStruct.Pin = RDX_Pin|WRX_DCX_Pin;
  GPIO_InitStruct.Mode = GPIO_MODE_OUTPUT_PP;
  GPIO_InitStruct.Pull = GPIO_NOPULL;
  GPIO_InitStruct.Speed = GPIO_SPEED_FREQ_LOW;
  HAL_GPIO_Init(GPIOD, &GPIO_InitStruct);

  /*Configure GPIO pins : R7_Pin DOTCLK_Pin B3_Pin */
  GPIO_InitStruct.Pin = R7_Pin|DOTCLK_Pin|B3_Pin;
  GPIO_InitStruct.Mode = GPIO_MODE_AF_PP;
  GPIO_InitStruct.Pull = GPIO_NOPULL;
  GPIO_InitStruct.Speed = GPIO_SPEED_FREQ_LOW;
  GPIO_InitStruct.Alternate = GPIO_AF14_LTDC;
  HAL_GPIO_Init(GPIOG, &GPIO_InitStruct);

  /*Configure GPIO pins : HSYNC_Pin G6_Pin R2_Pin */
  GPIO_InitStruct.Pin = HSYNC_Pin|G6_Pin|R2_Pin;
  GPIO_InitStruct.Mode = GPIO_MODE_AF_PP;
  GPIO_InitStruct.Pull = GPIO_NOPULL;
  GPIO_InitStruct.Speed = GPIO_SPEED_FREQ_LOW;
  GPIO_InitStruct.Alternate = GPIO_AF14_LTDC;
  HAL_GPIO_Init(GPIOC, &GPIO_InitStruct);

  /*Configure GPIO pin : I2C3_SDA_Pin */
  GPIO_InitStruct.Pin = I2C3_SDA_Pin;
  GPIO_InitStruct.Mode = GPIO_MODE_AF_OD;
  GPIO_InitStruct.Pull = GPIO_NOPULL;
  GPIO_InitStruct.Speed = GPIO_SPEED_FREQ_LOW;
  GPIO_InitStruct.Alternate = GPIO_AF4_I2C3;
  HAL_GPIO_Init(I2C3_SDA_GPIO_Port, &GPIO_InitStruct);

  /*Configure GPIO pin : I2C3_SCL_Pin */
  GPIO_InitStruct.Pin = I2C3_SCL_Pin;
  GPIO_InitStruct.Mode = GPIO_MODE_AF_OD;
  GPIO_InitStruct.Pull = GPIO_NOPULL;
  GPIO_InitStruct.Speed = GPIO_SPEED_FREQ_LOW;
  GPIO_InitStruct.Alternate = GPIO_AF4_I2C3;
  HAL_GPIO_Init(I2C3_SCL_GPIO_Port, &GPIO_InitStruct);

  /*Configure GPIO pins : STLINK_RX_Pin STLINK_TX_Pin */
  GPIO_InitStruct.Pin = STLINK_RX_Pin|STLINK_TX_Pin;
  GPIO_InitStruct.Mode = GPIO_MODE_AF_PP;
  GPIO_InitStruct.Pull = GPIO_NOPULL;
  GPIO_InitStruct.Speed = GPIO_SPEED_FREQ_VERY_HIGH;
  GPIO_InitStruct.Alternate = GPIO_AF7_USART1;
  HAL_GPIO_Init(GPIOA, &GPIO_InitStruct);

  /*Configure GPIO pins : G7_Pin B2_Pin */
  GPIO_InitStruct.Pin = G7_Pin|B2_Pin;
  GPIO_InitStruct.Mode = GPIO_MODE_AF_PP;
  GPIO_InitStruct.Pull = GPIO_NOPULL;
  GPIO_InitStruct.Speed = GPIO_SPEED_FREQ_LOW;
  GPIO_InitStruct.Alternate = GPIO_AF14_LTDC;
  HAL_GPIO_Init(GPIOD, &GPIO_InitStruct);

  /*Configure GPIO pin : G3_Pin */
  GPIO_InitStruct.Pin = G3_Pin;
  GPIO_InitStruct.Mode = GPIO_MODE_AF_PP;
  GPIO_InitStruct.Pull = GPIO_NOPULL;
  GPIO_InitStruct.Speed = GPIO_SPEED_FREQ_LOW;
  GPIO_InitStruct.Alternate = GPIO_AF9_LTDC;
  HAL_GPIO_Init(G3_GPIO_Port, &GPIO_InitStruct);

  /*Configure GPIO pins : LD2_Pin LD3_Pin LD4_Pin */
  GPIO_InitStruct.Pin = LD2_Pin|LD3_Pin|LD4_Pin;
  GPIO_InitStruct.Mode = GPIO_MODE_OUTPUT_PP;
  GPIO_InitStruct.Pull = GPIO_NOPULL;
  GPIO_InitStruct.Speed = GPIO_SPEED_FREQ_LOW;
  HAL_GPIO_Init(GPIOG, &GPIO_InitStruct);

  /*Configure GPIO pins : SDCKE1_Pin SDNE1_Pin */
  GPIO_InitStruct.Pin = SDCKE1_Pin|SDNE1_Pin;
  GPIO_InitStruct.Mode = GPIO_MODE_AF_PP;
  GPIO_InitStruct.Pull = GPIO_NOPULL;
  GPIO_InitStruct.Speed = GPIO_SPEED_FREQ_VERY_HIGH;
  GPIO_InitStruct.Alternate = GPIO_AF12_FMC;
  HAL_GPIO_Init(GPIOB, &GPIO_InitStruct);

}

/* USER CODE BEGIN 4 */

void GreenTaskA( void* argument )
{
	uint_fast8_t count = 0;
	while(1)
	{
		//every 5 times through the loop, give the semaphore
		if(++count >= 5)
		{
			count = 0;
			SEGGER_SYSVIEW_PrintfHost("Task A (green LED) sets flag");
			flag = 1;	//set 'flag' to 1 to "signal" BlueTaskB to run
	    }

		GreenLed.On();
		vTaskDelay(pdMS_TO_TICKS(100));
		GreenLed.Off();
		vTaskDelay(100/portTICK_PERIOD_MS);
	}
}

/**
 * wait to receive semPtr and triple blink the Blue LED
 */
void BlueTaskB( void* argument )
{
	while(1)
	{
		//'take' the semaphore with a really long timeout
		SEGGER_SYSVIEW_PrintfHost("Task B (Blue LED) starts polling on flag");

		//Repeatedly poll on flag.  As soon as it is non-zero,
		//blink the blue LED 3 time
		while(!flag);       // Immediately flag == 1 the not ! will turn it to zero and it will break out of the loop

		SEGGER_SYSVIEW_PrintfHost("Task B (Blue LED) received flag");

		flag = 0;                          // reset the flag

		//triple blink the Blue LED
		for(uint_fast8_t i = 0; i < 3; i++)
		{
			BlueLed.On();
			vTaskDelay(50/portTICK_PERIOD_MS);
			BlueLed.Off();
			vTaskDelay(50/portTICK_PERIOD_MS);
		}

		//		else
		//		{
		//			This is the code that will be executed if we time out waiting for
		//			the semaphore to be given.  In the case of a 1 mS tick rate, a uint32_t
		//			will only provide a delay of around 50 days.
		//			Unless "#define INCLUDE_vTaskSuspend 1" is configured in FreeRTOSConfig.h
		//		}
	}
}

/* USER CODE END 4 */

void HAL_TIM_PeriodElapsedCallback(TIM_HandleTypeDef *htim)
{
  if (htim->Instance == TIM6) {
    HAL_IncTick();
  }
}

void Error_Handler(void)
{
  __disable_irq();
  while (1)
  {
  }
}
